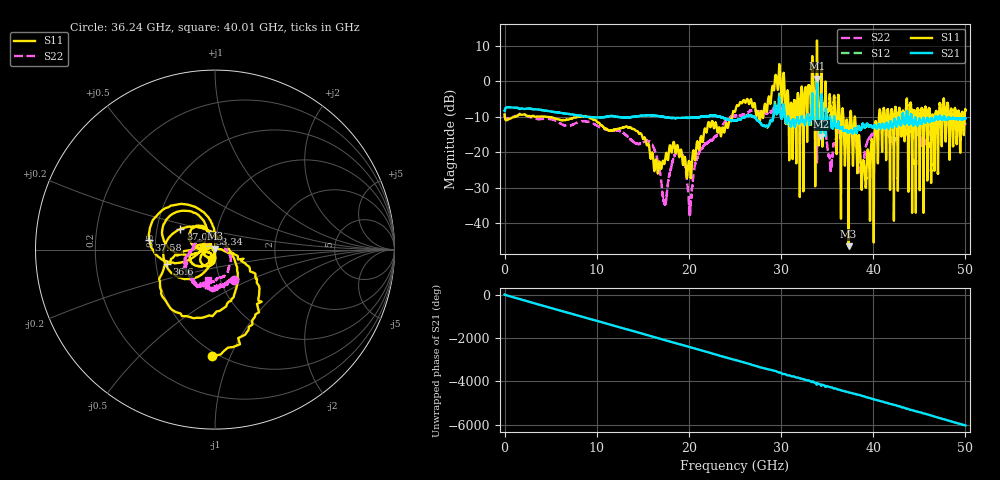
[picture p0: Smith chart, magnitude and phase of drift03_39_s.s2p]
!Created with skrf (http://scikit-rf.org).
# Hz S RI R 50.0
!freq ReS11 ImS11 ReS21 ImS21 ReS12 ImS12 ReS22 ImS22
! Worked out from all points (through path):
!   10001 points, 300 kHz to 50 GHz, reference 50 ohm
!   highest |S21| = 0.73 dB at 33.9 GHz (marker M1); lowest = -15.6 dB at 34.32 GHz (marker M2)
!   group delay of S21, straight-line fit = 335 ps
!   lowest |S11| = -46.5 dB at 37.33 GHz (marker M3), VSWR 1.01, Z = 50 + j0.473 ohm
!   |S11| at or under -10 dB: 4.474 GHz to 7.931 GHz (3.457 GHz wide, 55.7 % of centre); 9.031 GHz to 24.7 GHz (15.67 GHz wide, 92.9 % of centre); 38.01 GHz to 40.62 GHz (2.611 GHz wide, 6.64 % of centre) (the widest 3 of 61)
!   |S22| runs from -37.7 to -5.9 dB; largest |S21 - S12| = 0.11
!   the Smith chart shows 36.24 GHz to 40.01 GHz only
!   S11 on the Smith chart (normalised r, x): 36.24 GHz: 0.47, -0.86; 36.6 GHz: 0.57, -0.10; 37.04 GHz: 0.66, +0.16; 37.58 GHz: 0.46, +0.06; 38.34 GHz: 0.93, +0.16; 40.01 GHz: 0.95, -0.11
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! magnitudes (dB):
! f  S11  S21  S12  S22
! 300 kHz  -9.4  -8.4  -8.5  -9.3
! 8.335 GHz  -9.9  -9.8  -9.8  -11.3
! 16.67 GHz  -25.5  -9.8  -9.8  -23.3
! 17.38 GHz  -22.8  -10.1  -10.1  -34.7
! 19.07 GHz  -19.8  -10.3  -10.3  -20.0
! 20.13 GHz  -24.5  -10.3  -10.3  -36.4
! 21.18 GHz  -17.9  -10.1  -10.1  -19.6
! 25 GHz  -8.5  -11.1  -11.1  -9.9
! 31.08 GHz  -6.1  -12.6  -12.7  -10.5
! 33.34 GHz  0.6  -7.5  -7.6  -9.4
! 33.9 GHz  11.5  0.7  0.3  -23.2
! 34.32 GHz  -2.9  -15.6  -14.9  -11.2
! 35.35 GHz  -6.5  -10.5  -10.1  -24.2
! 36.24 GHz  -4.5  -11.8  -11.7  -14.0
! 36.6 GHz  -11.1  -13.0  -13.0  -13.6
! 37.04 GHz  -13.0  -13.8  -14.0  -13.7
! 37.33 GHz  -46.5  -14.3  -14.5  -13.5
! 37.58 GHz  -8.6  -13.9  -13.8  -13.9
! 38.34 GHz  -21.0  -12.9  -13.0  -19.5
! 40.01 GHz  -24.2  -12.9  -12.9  -15.2
! 41.67 GHz  -9.6  -13.3  -13.2  -14.8
! 50 GHz  -8.1  -10.5  -10.6  -12.1
